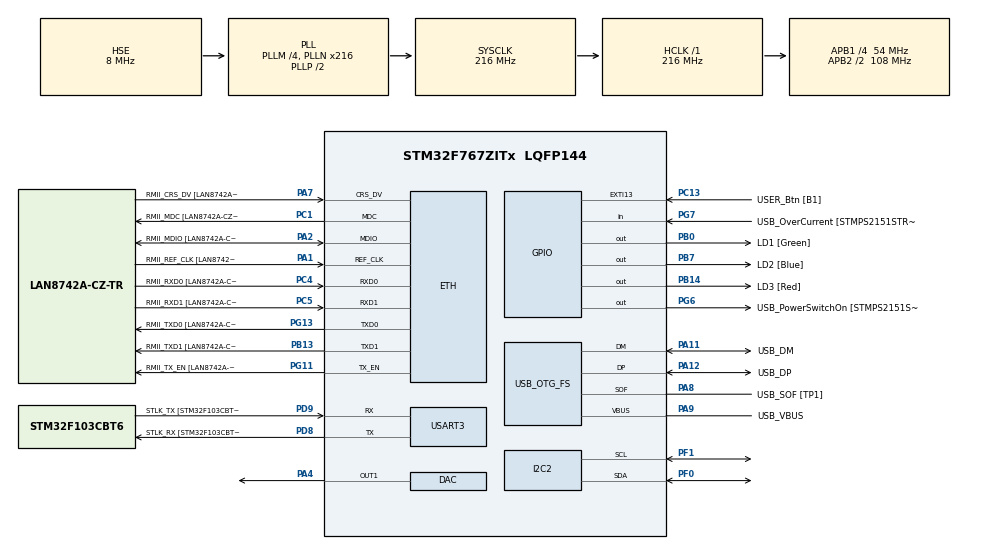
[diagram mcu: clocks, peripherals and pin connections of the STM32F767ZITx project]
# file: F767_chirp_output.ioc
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CORTEX_M7.default_mode_Activation=1
DAC.DAC_Trigger=DAC_TRIGGER_T6_TRGO
Dma.DAC1.0.Direction=DMA_MEMORY_TO_PERIPH
Dma.DAC1.0.FIFOMode=DMA_FIFOMODE_DISABLE
Dma.DAC1.0.Instance=DMA1_Stream5
Dma.DAC1.0.MemDataAlignment=DMA_MDATAALIGN_HALFWORD
Dma.DAC1.0.MemInc=DMA_MINC_ENABLE
Dma.DAC1.0.Mode=DMA_CIRCULAR
Dma.DAC1.0.PeriphDataAlignment=DMA_PDATAALIGN_HALFWORD
Dma.DAC1.0.PeriphInc=DMA_PINC_DISABLE
Dma.DAC1.0.Priority=DMA_PRIORITY_VERY_HIGH
Dma.Request0=DAC1
ETH.MediaInterface=HAL_ETH_RMII_MODE
ETH.PHY_Name=LAN8742A_PHY_ADDRESS
ETH.PHY_Value=0
ETH.PhyAddress=0
I2C2.Timing=0x20404768
Mcu.Family=STM32F7
Mcu.Name=STM32F767ZITx
Mcu.Package=LQFP144
NVIC.DMA1_Stream5_IRQn=true\:0\:0\:false\:false\:true\:false\:true\:true
NVIC.PriorityGroup=NVIC_PRIORITYGROUP_4
PA1.GPIO_Label=RMII_REF_CLK [LAN8742A-CZ-TR_REFCLK0]
PA1.Mode=RMII
PA1.Signal=ETH_REF_CLK
PA10.GPIO_Label=USB_ID
PA10.Signal=USB_OTG_FS_ID
PA11.GPIO_Label=USB_DM
PA11.Mode=Device_Only
PA11.Signal=USB_OTG_FS_DM
PA12.GPIO_Label=USB_DP
PA12.Mode=Device_Only
PA12.Signal=USB_OTG_FS_DP
PA13.GPIO_Label=TMS
PA13.Mode=Serial_Wire
PA13.Signal=SYS_JTMS-SWDIO
PA14.GPIO_Label=TCK
PA14.Mode=Serial_Wire
PA14.Signal=SYS_JTCK-SWCLK
PA2.GPIO_Label=RMII_MDIO [LAN8742A-CZ-TR_MDIO]
PA2.Mode=RMII
PA2.Signal=ETH_MDIO
PA4.Signal=COMP_DAC1_group
PA7.GPIO_Label=RMII_CRS_DV [LAN8742A-CZ-TR_CRS_DV]
PA7.Mode=RMII
PA7.Signal=ETH_CRS_DV
PA8.GPIO_Label=USB_SOF [TP1]
PA8.Mode=Activate_SOF_FS
PA8.Signal=USB_OTG_FS_SOF
PA9.GPIO_Label=USB_VBUS
PA9.Mode=Activate_VBUS
PA9.Signal=USB_OTG_FS_VBUS
PB0.GPIO_Label=LD1 [Green]
PB0.Signal=GPIO_Output
PB13.GPIO_Label=RMII_TXD1 [LAN8742A-CZ-TR_TXD1]
PB13.Mode=RMII
PB13.Signal=ETH_TXD1
PB14.GPIO_Label=LD3 [Red]
PB14.Signal=GPIO_Output
PB3.GPIO_Label=SWO
PB3.Signal=SYS_JTDO-SWO
PB7.GPIO_Label=LD2 [Blue]
PB7.Signal=GPIO_Output
PC1.GPIO_Label=RMII_MDC [LAN8742A-CZ-TR_MDC]
PC1.Mode=RMII
PC1.Signal=ETH_MDC
PC13.GPIO_Label=USER_Btn [B1]
PC13.Signal=GPXTI13
PC14/OSC32_IN.Mode=LSE-External-Oscillator
PC14/OSC32_IN.Signal=RCC_OSC32_IN
PC15/OSC32_OUT.Mode=LSE-External-Oscillator
PC15/OSC32_OUT.Signal=RCC_OSC32_OUT
PC4.GPIO_Label=RMII_RXD0 [LAN8742A-CZ-TR_RXD0]
PC4.Mode=RMII
PC4.Signal=ETH_RXD0
PC5.GPIO_Label=RMII_RXD1 [LAN8742A-CZ-TR_RXD1]
PC5.Mode=RMII
PC5.Signal=ETH_RXD1
PD8.GPIO_Label=STLK_RX [STM32F103CBT6_PA3]
PD8.Mode=Asynchronous
PD8.Signal=USART3_TX
PD9.GPIO_Label=STLK_TX [STM32F103CBT6_PA2]
PD9.Mode=Asynchronous
PD9.Signal=USART3_RX
PF0.Mode=I2C
PF0.Signal=I2C2_SDA
PF1.Mode=I2C
PF1.Signal=I2C2_SCL
PG11.GPIO_Label=RMII_TX_EN [LAN8742A-CZ-TR_TXEN]
PG11.Mode=RMII
PG11.Signal=ETH_TX_EN
PG13.GPIO_Label=RMII_TXD0 [LAN8742A-CZ-TR_TXD0]
PG13.Mode=RMII
PG13.Signal=ETH_TXD0
PG6.GPIO_Label=USB_PowerSwitchOn [STMPS2151STR_EN]
PG6.Signal=GPIO_Output
PG7.GPIO_Label=USB_OverCurrent [STMPS2151STR_FAULT]
PG7.Signal=GPIO_Input
PH0/OSC_IN.GPIO_Label=MCO [STM32F103CBT6_PA8]
PH0/OSC_IN.Mode=HSE-External-Clock-Source
PH0/OSC_IN.Signal=RCC_OSC_IN
PH1/OSC_OUT.Mode=HSE-External-Clock-Source
PH1/OSC_OUT.Signal=RCC_OSC_OUT
ProjectManager.HeapSize=0x200
ProjectManager.StackSize=0x400
ProjectManager.TargetToolchain=STM32CubeIDE
RCC.48MHZClocksFreq_Value=24000000
RCC.AHBFreq_Value=216000000
RCC.APB1CLKDivider=RCC_HCLK_DIV4
RCC.APB1Freq_Value=54000000
RCC.APB1TimFreq_Value=108000000
RCC.APB2CLKDivider=RCC_HCLK_DIV2
RCC.APB2Freq_Value=108000000
RCC.APB2TimFreq_Value=216000000
RCC.CortexFreq_Value=216000000
RCC.HCLKFreq_Value=216000000
RCC.HSE_VALUE=8000000
RCC.HSI_VALUE=16000000
RCC.PLLM=4
RCC.PLLMUL=RCC_PLL_MUL9
RCC.PLLN=216
RCC.PLLQ=9
RCC.PRESCALERUSB=RCC_USBCLKSOURCE_PLL_DIV1_5
RCC.SYSCLKFreq_VALUE=216000000
RCC.SYSCLKSource=RCC_SYSCLKSOURCE_PLLCLK
RCC.SYSCLKSourceVirtual=RCC_SYSCLKSOURCE_PLLCLK
RCC.USBFreq_Value=48000000
RCC.VCOOutputFreq_Value=432000000
SH.COMP_DAC1_group.0=DAC_OUT1,DAC_OUT1
TIM6.TIM_MasterOutputTrigger=TIM_TRGO_UPDATE
USART3.VirtualMode-Asynchronous=VM_ASYNC
USB_OTG_FS.VirtualMode=Device_Only
VP_TIM6_VS_ClockSourceINT.Mode=Enable_Timer
board=NUCLEO-F767ZI

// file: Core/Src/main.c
/* USER CODE BEGIN Header */
/* F767_chirp_output */
/**
  ******************************************************************************
  * @file           : main.c
  * @brief          : Main program body
  ******************************************************************************
  * @attention
  *
  * Copyright (c) 2026 STMicroelectronics.
  * All rights reserved.
  *
  * This software is licensed under terms that can be found in the LICENSE file
  * in the root directory of this software component.
  * If no LICENSE file comes with this software, it is provided AS-IS.
  *
  ******************************************************************************
  */
/* USER CODE END Header */
#include "main.h"
#include "string.h"

/* USER CODE BEGIN Includes */
#include "chirp_output.h"
#include "ds3231.h"
#include <stdio.h>
/* USER CODE END Includes */

#if defined ( __ICCARM__ ) /*!< IAR Compiler */
#pragma location=0x2007c000
ETH_DMADescTypeDef  DMARxDscrTab[ETH_RX_DESC_CNT]; /* Ethernet Rx DMA Descriptors */
#pragma location=0x2007c0a0
ETH_DMADescTypeDef  DMATxDscrTab[ETH_TX_DESC_CNT]; /* Ethernet Tx DMA Descriptors */

#elif defined ( __CC_ARM )  /* MDK ARM Compiler */

__attribute__((at(0x2007c000))) ETH_DMADescTypeDef  DMARxDscrTab[ETH_RX_DESC_CNT]; /* Ethernet Rx DMA Descriptors */
__attribute__((at(0x2007c0a0))) ETH_DMADescTypeDef  DMATxDscrTab[ETH_TX_DESC_CNT]; /* Ethernet Tx DMA Descriptors */

#elif defined ( __GNUC__ ) /* GNU Compiler */

ETH_DMADescTypeDef DMARxDscrTab[ETH_RX_DESC_CNT] __attribute__((section(".RxDecripSection"))); /* Ethernet Rx DMA Descriptors */
ETH_DMADescTypeDef DMATxDscrTab[ETH_TX_DESC_CNT] __attribute__((section(".TxDecripSection")));   /* Ethernet Tx DMA Descriptors */
#endif

ETH_TxPacketConfig TxConfig;

DAC_HandleTypeDef hdac;
DMA_HandleTypeDef hdma_dac1;

ETH_HandleTypeDef heth;

I2C_HandleTypeDef hi2c2;

TIM_HandleTypeDef htim6;

UART_HandleTypeDef huart3;

PCD_HandleTypeDef hpcd_USB_OTG_FS;

void SystemClock_Config(void);
static void MPU_Config(void);
static void MX_GPIO_Init(void);
static void MX_DMA_Init(void);
static void MX_DAC_Init(void);
static void MX_ETH_Init(void);
static void MX_TIM6_Init(void);
static void MX_USART3_UART_Init(void);
static void MX_USB_OTG_FS_PCD_Init(void);
static void MX_I2C2_Init(void);

/* USER CODE BEGIN 0 */
int __io_putchar(int ch)
{
    HAL_UART_Transmit(&huart3,
                      (uint8_t *)&ch,
                      1,
                      HAL_MAX_DELAY);

    return ch;
}
/* USER CODE END 0 */

int main(void)
{

  /* MPU Configuration--------------------------------------------------------*/
  MPU_Config();

  /* MCU Configuration--------------------------------------------------------*/

  /* Reset of all peripherals, Initializes the Flash interface and the Systick. */
  HAL_Init();

  /* Configure the system clock */
  SystemClock_Config();

  /* Initialize all configured peripherals */
  MX_GPIO_Init();
  MX_DMA_Init();
  MX_DAC_Init();
  MX_ETH_Init();
  MX_TIM6_Init();
  MX_USART3_UART_Init();
  MX_USB_OTG_FS_PCD_Init();
  MX_I2C2_Init();
  /* USER CODE BEGIN 2 */
  ChirpPlayer_Init(&hdac, &htim6);

  if (ChirpPlayer_StartIdleStream() != HAL_OK)
  {
    printf("Idle stream start failed.\r\n");
  } // end if

  DS3231_Time_t now = {0};
  uint8_t second_zero_handle = 0U;

  /* USER CODE END 2 */

  /* Infinite loop */
  /* USER CODE BEGIN WHILE */
  while (1)
  {
    ChirpPlayer_Process();

    if (DS3231_GetTime(&hi2c2, &now) == HAL_OK)
    {
      if ((now.second == 0U) && (second_zero_handle == 0U))
      {
        second_zero_handle = 1U;

        HAL_StatusTypeDef status = ChirpPlayer_Play();

        if (status == HAL_OK)
        {
          printf("Chirp started: %02u:%02u:%02u\r\n",
            now.hour,
            now.minute,
            now.second);
        } // end if
        else if (status == HAL_BUSY)
        {
          printf("Chirp already active,\r\n");
        } // end else if
        else
        {
          printf("Chirp start failed: %d\r\n", (int)status);
        } // end else
      } // end if

      if (now.second != 0U)
      {
        second_zero_handle = 0U;
      } // end if
    } // end if
    /* USER CODE END WHILE */

  }
}

void SystemClock_Config(void)
{
  RCC_OscInitTypeDef RCC_OscInitStruct = {0};
  RCC_ClkInitTypeDef RCC_ClkInitStruct = {0};

  /** Configure LSE Drive Capability
  */
  HAL_PWR_EnableBkUpAccess();

  /** Configure the main internal regulator output voltage
  */
  __HAL_RCC_PWR_CLK_ENABLE();
  __HAL_PWR_VOLTAGESCALING_CONFIG(PWR_REGULATOR_VOLTAGE_SCALE1);

  /** Initializes the RCC Oscillators according to the specified parameters
  * in the RCC_OscInitTypeDef structure.
  */
  RCC_OscInitStruct.OscillatorType = RCC_OSCILLATORTYPE_HSE;
  RCC_OscInitStruct.HSEState = RCC_HSE_BYPASS;
  RCC_OscInitStruct.PLL.PLLState = RCC_PLL_ON;
  RCC_OscInitStruct.PLL.PLLSource = RCC_PLLSOURCE_HSE;
  RCC_OscInitStruct.PLL.PLLM = 4;
  RCC_OscInitStruct.PLL.PLLN = 216;
  RCC_OscInitStruct.PLL.PLLP = RCC_PLLP_DIV2;
  RCC_OscInitStruct.PLL.PLLQ = 9;
  RCC_OscInitStruct.PLL.PLLR = 2;
  if (HAL_RCC_OscConfig(&RCC_OscInitStruct) != HAL_OK)
  {
    Error_Handler();
  }

  /** Activate the Over-Drive mode
  */
  if (HAL_PWREx_EnableOverDrive() != HAL_OK)
  {
    Error_Handler();
  }

  /** Initializes the CPU, AHB and APB buses clocks
  */
  RCC_ClkInitStruct.ClockType = RCC_CLOCKTYPE_HCLK|RCC_CLOCKTYPE_SYSCLK
                              |RCC_CLOCKTYPE_PCLK1|RCC_CLOCKTYPE_PCLK2;
  RCC_ClkInitStruct.SYSCLKSource = RCC_SYSCLKSOURCE_PLLCLK;
  RCC_ClkInitStruct.AHBCLKDivider = RCC_SYSCLK_DIV1;
  RCC_ClkInitStruct.APB1CLKDivider = RCC_HCLK_DIV4;
  RCC_ClkInitStruct.APB2CLKDivider = RCC_HCLK_DIV2;

  if (HAL_RCC_ClockConfig(&RCC_ClkInitStruct, FLASH_LATENCY_7) != HAL_OK)
  {
    Error_Handler();
  }
}

static void MX_DAC_Init(void)
{

  DAC_ChannelConfTypeDef sConfig = {0};

  /** DAC Initialization
  */
  hdac.Instance = DAC;
  if (HAL_DAC_Init(&hdac) != HAL_OK)
  {
    Error_Handler();
  }

  /** DAC channel OUT1 config
  */
  sConfig.DAC_Trigger = DAC_TRIGGER_T6_TRGO;
  sConfig.DAC_OutputBuffer = DAC_OUTPUTBUFFER_ENABLE;
  if (HAL_DAC_ConfigChannel(&hdac, &sConfig, DAC_CHANNEL_1) != HAL_OK)
  {
    Error_Handler();
  }

}

static void MX_ETH_Init(void)
{

   static uint8_t MACAddr[6];

  heth.Instance = ETH;
  MACAddr[0] = 0x00;
  MACAddr[1] = 0x80;
  MACAddr[2] = 0xE1;
  MACAddr[3] = 0x00;
  MACAddr[4] = 0x00;
  MACAddr[5] = 0x00;
  heth.Init.MACAddr = &MACAddr[0];
  heth.Init.MediaInterface = HAL_ETH_RMII_MODE;
  heth.Init.TxDesc = DMATxDscrTab;
  heth.Init.RxDesc = DMARxDscrTab;
  heth.Init.RxBuffLen = 1524;

  if (HAL_ETH_Init(&heth) != HAL_OK)
  {
    Error_Handler();
  }

  memset(&TxConfig, 0 , sizeof(ETH_TxPacketConfig));
  TxConfig.Attributes = ETH_TX_PACKETS_FEATURES_CSUM | ETH_TX_PACKETS_FEATURES_CRCPAD;
  TxConfig.ChecksumCtrl = ETH_CHECKSUM_IPHDR_PAYLOAD_INSERT_PHDR_CALC;
  TxConfig.CRCPadCtrl = ETH_CRC_PAD_INSERT;

}

static void MX_I2C2_Init(void)
{

  hi2c2.Instance = I2C2;
  hi2c2.Init.Timing = 0x20404768;
  hi2c2.Init.OwnAddress1 = 0;
  hi2c2.Init.AddressingMode = I2C_ADDRESSINGMODE_7BIT;
  hi2c2.Init.DualAddressMode = I2C_DUALADDRESS_DISABLE;
  hi2c2.Init.OwnAddress2 = 0;
  hi2c2.Init.OwnAddress2Masks = I2C_OA2_NOMASK;
  hi2c2.Init.GeneralCallMode = I2C_GENERALCALL_DISABLE;
  hi2c2.Init.NoStretchMode = I2C_NOSTRETCH_DISABLE;
  if (HAL_I2C_Init(&hi2c2) != HAL_OK)
  {
    Error_Handler();
  }

  /** Configure Analogue filter
  */
  if (HAL_I2CEx_ConfigAnalogFilter(&hi2c2, I2C_ANALOGFILTER_ENABLE) != HAL_OK)
  {
    Error_Handler();
  }

  /** Configure Digital filter
  */
  if (HAL_I2CEx_ConfigDigitalFilter(&hi2c2, 0) != HAL_OK)
  {
    Error_Handler();
  }

}

static void MX_TIM6_Init(void)
{

  TIM_MasterConfigTypeDef sMasterConfig = {0};

  htim6.Instance = TIM6;
  htim6.Init.Prescaler = 0;
  htim6.Init.CounterMode = TIM_COUNTERMODE_UP;
  htim6.Init.Period = 1079;
  htim6.Init.AutoReloadPreload = TIM_AUTORELOAD_PRELOAD_DISABLE;
  if (HAL_TIM_Base_Init(&htim6) != HAL_OK)
  {
    Error_Handler();
  }
  sMasterConfig.MasterOutputTrigger = TIM_TRGO_UPDATE;
  sMasterConfig.MasterSlaveMode = TIM_MASTERSLAVEMODE_DISABLE;
  if (HAL_TIMEx_MasterConfigSynchronization(&htim6, &sMasterConfig) != HAL_OK)
  {
    Error_Handler();
  }

}

static void MX_USART3_UART_Init(void)
{

  huart3.Instance = USART3;
  huart3.Init.BaudRate = 115200;
  huart3.Init.WordLength = UART_WORDLENGTH_8B;
  huart3.Init.StopBits = UART_STOPBITS_1;
  huart3.Init.Parity = UART_PARITY_NONE;
  huart3.Init.Mode = UART_MODE_TX_RX;
  huart3.Init.HwFlowCtl = UART_HWCONTROL_NONE;
  huart3.Init.OverSampling = UART_OVERSAMPLING_16;
  huart3.Init.OneBitSampling = UART_ONE_BIT_SAMPLE_DISABLE;
  huart3.AdvancedInit.AdvFeatureInit = UART_ADVFEATURE_NO_INIT;
  if (HAL_UART_Init(&huart3) != HAL_OK)
  {
    Error_Handler();
  }

}

static void MX_USB_OTG_FS_PCD_Init(void)
{

  hpcd_USB_OTG_FS.Instance = USB_OTG_FS;
  hpcd_USB_OTG_FS.Init.dev_endpoints = 6;
  hpcd_USB_OTG_FS.Init.speed = PCD_SPEED_FULL;
  hpcd_USB_OTG_FS.Init.dma_enable = DISABLE;
  hpcd_USB_OTG_FS.Init.phy_itface = PCD_PHY_EMBEDDED;
  hpcd_USB_OTG_FS.Init.Sof_enable = ENABLE;
  hpcd_USB_OTG_FS.Init.low_power_enable = DISABLE;
  hpcd_USB_OTG_FS.Init.lpm_enable = DISABLE;
  hpcd_USB_OTG_FS.Init.vbus_sensing_enable = ENABLE;
  hpcd_USB_OTG_FS.Init.use_dedicated_ep1 = DISABLE;
  if (HAL_PCD_Init(&hpcd_USB_OTG_FS) != HAL_OK)
  {
    Error_Handler();
  }

}

static void MX_DMA_Init(void)
{

  /* DMA controller clock enable */
  __HAL_RCC_DMA1_CLK_ENABLE();

  /* DMA interrupt init */
  /* DMA1_Stream5_IRQn interrupt configuration */
  HAL_NVIC_SetPriority(DMA1_Stream5_IRQn, 0, 0);
  HAL_NVIC_EnableIRQ(DMA1_Stream5_IRQn);

}

static void MX_GPIO_Init(void)
{
  GPIO_InitTypeDef GPIO_InitStruct = {0};

  /* GPIO Ports Clock Enable */
  __HAL_RCC_GPIOC_CLK_ENABLE();
  __HAL_RCC_GPIOF_CLK_ENABLE();
  __HAL_RCC_GPIOH_CLK_ENABLE();
  __HAL_RCC_GPIOA_CLK_ENABLE();
  __HAL_RCC_GPIOB_CLK_ENABLE();
  __HAL_RCC_GPIOD_CLK_ENABLE();
  __HAL_RCC_GPIOG_CLK_ENABLE();

  /*Configure GPIO pin Output Level */
  HAL_GPIO_WritePin(GPIOB, LD1_Pin|LD3_Pin|LD2_Pin, GPIO_PIN_RESET);

  /*Configure GPIO pin Output Level */
  HAL_GPIO_WritePin(USB_PowerSwitchOn_GPIO_Port, USB_PowerSwitchOn_Pin, GPIO_PIN_RESET);

  /*Configure GPIO pin : USER_Btn_Pin */
  GPIO_InitStruct.Pin = USER_Btn_Pin;
  GPIO_InitStruct.Mode = GPIO_MODE_IT_RISING;
  GPIO_InitStruct.Pull = GPIO_NOPULL;
  HAL_GPIO_Init(USER_Btn_GPIO_Port, &GPIO_InitStruct);

  /*Configure GPIO pins : LD1_Pin LD3_Pin LD2_Pin */
  GPIO_InitStruct.Pin = LD1_Pin|LD3_Pin|LD2_Pin;
  GPIO_InitStruct.Mode = GPIO_MODE_OUTPUT_PP;
  GPIO_InitStruct.Pull = GPIO_NOPULL;
  GPIO_InitStruct.Speed = GPIO_SPEED_FREQ_LOW;
  HAL_GPIO_Init(GPIOB, &GPIO_InitStruct);

  /*Configure GPIO pin : USB_PowerSwitchOn_Pin */
  GPIO_InitStruct.Pin = USB_PowerSwitchOn_Pin;
  GPIO_InitStruct.Mode = GPIO_MODE_OUTPUT_PP;
  GPIO_InitStruct.Pull = GPIO_NOPULL;
  GPIO_InitStruct.Speed = GPIO_SPEED_FREQ_LOW;
  HAL_GPIO_Init(USB_PowerSwitchOn_GPIO_Port, &GPIO_InitStruct);

  /*Configure GPIO pin : USB_OverCurrent_Pin */
  GPIO_InitStruct.Pin = USB_OverCurrent_Pin;
  GPIO_InitStruct.Mode = GPIO_MODE_INPUT;
  GPIO_InitStruct.Pull = GPIO_NOPULL;
  HAL_GPIO_Init(USB_OverCurrent_GPIO_Port, &GPIO_InitStruct);

}

 /* MPU Configuration */

void MPU_Config(void)
{
  MPU_Region_InitTypeDef MPU_InitStruct = {0};

  /* Disables the MPU */
  HAL_MPU_Disable();

  /** Initializes and configures the Region and the memory to be protected
  */
  MPU_InitStruct.Enable = MPU_REGION_ENABLE;
  MPU_InitStruct.Number = MPU_REGION_NUMBER0;
  MPU_InitStruct.BaseAddress = 0x0;
  MPU_InitStruct.Size = MPU_REGION_SIZE_4GB;
  MPU_InitStruct.SubRegionDisable = 0x87;
  MPU_InitStruct.TypeExtField = MPU_TEX_LEVEL0;
  MPU_InitStruct.AccessPermission = MPU_REGION_NO_ACCESS;
  MPU_InitStruct.DisableExec = MPU_INSTRUCTION_ACCESS_DISABLE;
  MPU_InitStruct.IsShareable = MPU_ACCESS_SHAREABLE;
  MPU_InitStruct.IsCacheable = MPU_ACCESS_NOT_CACHEABLE;
  MPU_InitStruct.IsBufferable = MPU_ACCESS_NOT_BUFFERABLE;

  HAL_MPU_ConfigRegion(&MPU_InitStruct);
  /* Enables the MPU */
  HAL_MPU_Enable(MPU_PRIVILEGED_DEFAULT);

}

void Error_Handler(void)
{
  __disable_irq();
  while (1)
  {
  }
}
